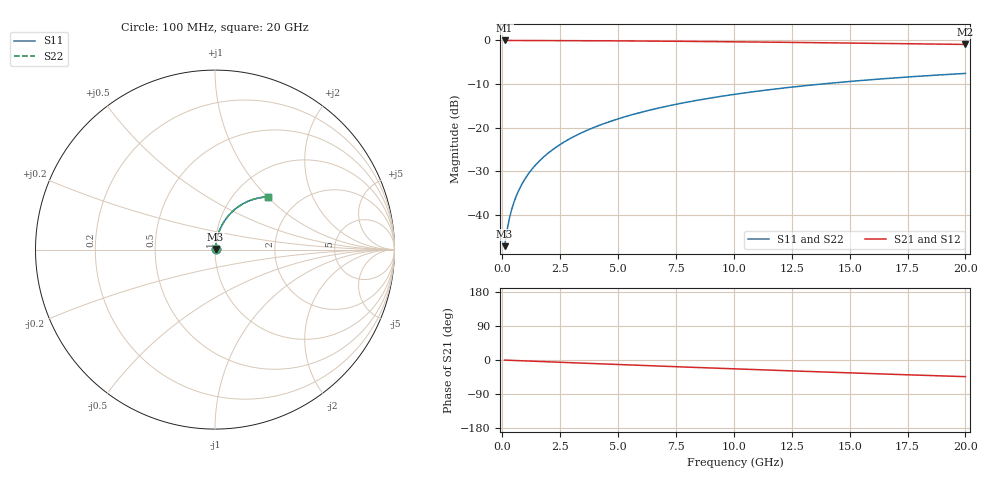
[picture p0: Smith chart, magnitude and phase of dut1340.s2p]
! Touchstone file exported from HFSS 2026.1.0
!  File:  C:/ffzhzh/LocalFiles/Ansys_Project_Files/temp_train_TMRDL_1340_1783165345_18472.aedt
!  Generated:  07:43:36 PM Jul  4, 2026
!  Design:  TMRDL
!  Project:  temp_train_TMRDL_1340_1783165345_18472
! Variables:
!  h_bsmrdl = 2um
!  h_ox = 20um
!  h_rdl = 5um
!  h_sub = 80um
!  h_tmrdl = 3.23um
!  h_tsv = 80um
!  h_via = 3um
!  l_bsmrdl = 300um
!  l_sub = 1027.69um
!  l_tmrdl = 627.69um
!  m_sub = 200um
!  pitch = 51.05um
!  r_tsv = 6um
!  s_tmrdl = 10um
!  w_bsmrdl = 18um
!  w_sub = 500um
!  w_tmrdl = 21.44um
!  x_tsv_center1 = 638.41um
!  x_tsv_center2 = 956.41um
!  x_tsv_center3 = 1605.54um
!  x_tsv_center4 = 1923.54um
!  x_tsv_center5 = 2572.67um
!  x_tsv_center6 = 2890.67um
# GHz S MA R 50.000000
! Terminal data exported
! Port[1] = TM_RDL1_1_T1
! Port[2] = TM_RDL1_1_T2
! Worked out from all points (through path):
!   200 points, 100 MHz to 20 GHz, reference 50 ohm
!   highest |S21| = -0.03 dB at 100 MHz (marker M1); lowest = -0.9 dB at 20 GHz (marker M2)
!   group delay of S21, straight-line fit = 6.11 ps
!   lowest |S11| = -47.1 dB at 100 MHz (marker M3), VSWR 1.01, Z = 50.3 + j0.28 ohm
!   |S11| at or under -10 dB: start of sweep to 13.8 GHz
!   |S22| runs from -47.1 to -7.6 dB; largest |S21 - S12| = 3.1e-15
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0.1  0.004404 39.2  0.9966 -0.3  0.9966 -0.3  0.004404 39.2
! Gamma 0 0 0 0
! Port Impedance 50 0 50 0
0.2  0.006568 57.0  0.9965 -0.5  0.9965 -0.5  0.006568 57.0
0.3  0.008992 65.0  0.9963 -0.7  0.9963 -0.7  0.008992 65.0
0.4  0.01146 69.5  0.9961 -1.0  0.9961 -1.0  0.01146 69.5
0.5  0.01394 72.3  0.996 -1.2  0.996 -1.2  0.01394 72.3
0.6  0.01643 74.2  0.9958 -1.5  0.9958 -1.5  0.01643 74.2
0.8  0.02141 76.7  0.9956 -1.9  0.9956 -1.9  0.02141 76.7
1.1  0.02893 78.7  0.9953 -2.7  0.9953 -2.7  0.02893 78.7
1.3  0.03397 79.4  0.9951 -3.1  0.9951 -3.1  0.03397 79.4
1.6  0.04154 79.9  0.9947 -3.9  0.9947 -3.9  0.04154 79.9
2.1  0.05418 80.0  0.9939 -5.1  0.9939 -5.1  0.05418 80.0
2.7  0.0693 79.5  0.9928 -6.5  0.9928 -6.5  0.0693 79.5
3.5  0.08933 78.3  0.9908 -8.4  0.9908 -8.4  0.08933 78.3
4.2  0.1067 77.0  0.9888 -10.0  0.9888 -10.0  0.1067 77.0
5  0.1262 75.4  0.9861 -11.9  0.9861 -11.9  0.1262 75.4
5.9  0.1478 73.5  0.9826 -14.0  0.9826 -14.0  0.1478 73.5
6.8  0.169 71.6  0.9787 -16.1  0.9787 -16.1  0.169 71.6
8.3  0.2032 68.3  0.9714 -19.5  0.9714 -19.5  0.2032 68.3
10.1  0.2425 64.5  0.9616 -23.5  0.9616 -23.5  0.2425 64.4
13.4  0.3087 57.6  0.9414 -30.6  0.9414 -30.6  0.3087 57.5
16.7  0.3673 50.9  0.9196 -37.5  0.9196 -37.5  0.3673 50.9
20  0.4181 44.6  0.8974 -43.9  0.8974 -43.9  0.4181 44.5
